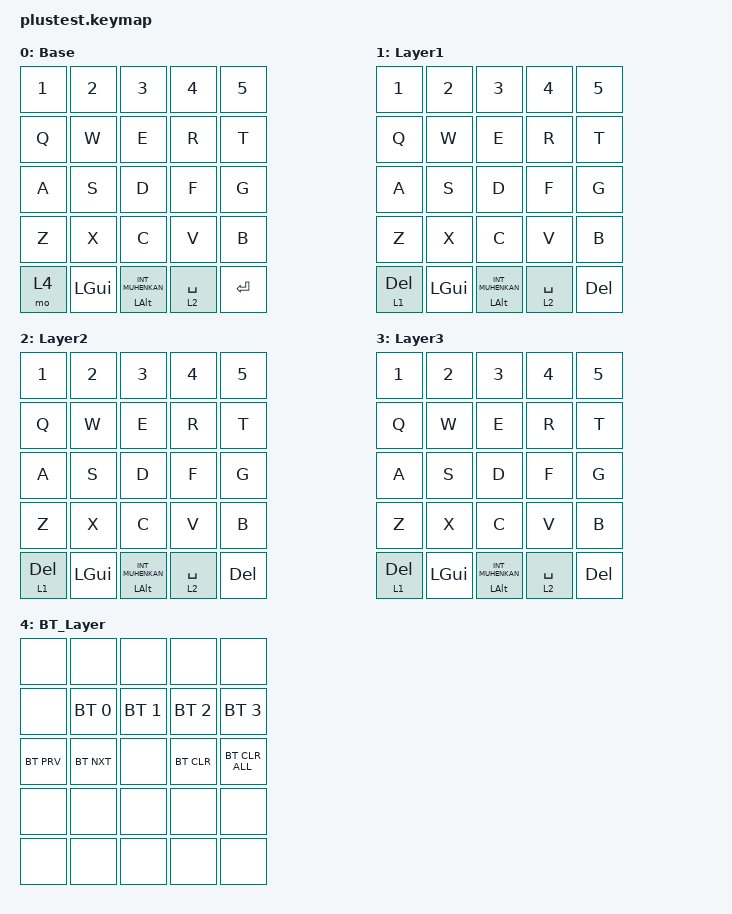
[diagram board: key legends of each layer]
#include <behaviors.dtsi>
#include <dt-bindings/zmk/bt.h>
#include <dt-bindings/zmk/keys.h>

&lt {
    tapping-term-ms = <200>; // This is the value already set by default
};

/ {
    keymap {
        compatible = "zmk,keymap";

        default_layer {
            display-name = "Base";
            bindings = <
&kp N1  &kp N2    &kp N3                 &kp N4       &kp N5
&kp Q   &kp W     &kp E                  &kp R        &kp T
&kp A   &kp S     &kp D                  &kp F        &kp G
&kp Z   &kp X     &kp C                  &kp V        &kp B
&mo 4   &kp LGUI  &mt LALT INT_MUHENKAN  &lt 2 SPACE  &kp ENTER
            >;
        };

        layer_1 {
            display-name = "Layer1";
            bindings = <
&kp N1     &kp N2    &kp N3                 &kp N4       &kp N5
&kp Q      &kp W     &kp E                  &kp R        &kp T
&kp A      &kp S     &kp D                  &kp F        &kp G
&kp Z      &kp X     &kp C                  &kp V        &kp B
&lt 1 DEL  &kp LGUI  &mt LALT INT_MUHENKAN  &lt 2 SPACE  &kp DEL
            >;
        };

        layer_2 {
            display-name = "Layer2";
            bindings = <
&kp N1     &kp N2    &kp N3                 &kp N4       &kp N5
&kp Q      &kp W     &kp E                  &kp R        &kp T
&kp A      &kp S     &kp D                  &kp F        &kp G
&kp Z      &kp X     &kp C                  &kp V        &kp B
&lt 1 DEL  &kp LGUI  &mt LALT INT_MUHENKAN  &lt 2 SPACE  &kp DEL
            >;
        };

        layer_3 {
            display-name = "Layer3";
            bindings = <
&kp N1     &kp N2    &kp N3                 &kp N4       &kp N5
&kp Q      &kp W     &kp E                  &kp R        &kp T
&kp A      &kp S     &kp D                  &kp F        &kp G
&kp Z      &kp X     &kp C                  &kp V        &kp B
&lt 1 DEL  &kp LGUI  &mt LALT INT_MUHENKAN  &lt 2 SPACE  &kp DEL
            >;
        };

        layer_4 {
            display-name = "BT_Layer";
            bindings = <
&none       &none         &none         &none         &none
&none       &bt BT_SEL 0  &bt BT_SEL 1  &bt BT_SEL 2  &bt BT_SEL 3
&bt BT_PRV  &bt BT_NXT    &none         &bt BT_CLR    &bt BT_CLR_ALL
&none       &none         &none         &none         &none
&none       &none         &none         &none         &none
            >;
        };
    };
};
